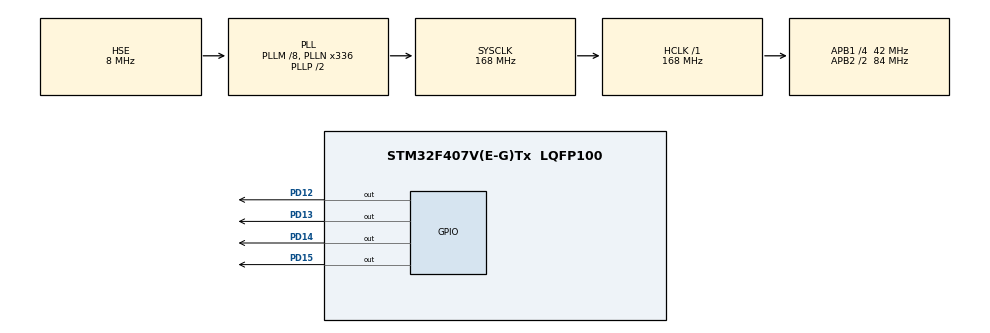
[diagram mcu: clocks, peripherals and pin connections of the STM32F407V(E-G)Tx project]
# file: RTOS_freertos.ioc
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FREERTOS.Tasks01=defaultTask,0,128,StartDefaultTask,Default,NULL,Dynamic,NULL,NULL
Mcu.Family=STM32F4
Mcu.Name=STM32F407V(E-G)Tx
Mcu.Package=LQFP100
NVIC.PriorityGroup=NVIC_PRIORITYGROUP_4
NVIC.TIM3_IRQn=true\:15\:0\:false\:false\:true\:false\:false\:true\:true
NVIC.TimeBase=TIM3_IRQn
NVIC.TimeBaseIP=TIM3
PD12.Signal=GPIO_Output
PD13.Signal=GPIO_Output
PD14.Signal=GPIO_Output
PD15.Signal=GPIO_Output
PH0-OSC_IN.Mode=HSE-External-Oscillator
PH0-OSC_IN.Signal=RCC_OSC_IN
PH1-OSC_OUT.Mode=HSE-External-Oscillator
PH1-OSC_OUT.Signal=RCC_OSC_OUT
ProjectManager.HeapSize=0x200
ProjectManager.StackSize=0x400
ProjectManager.TargetToolchain=STM32CubeIDE
RCC.48MHZClocksFreq_Value=48000000
RCC.AHBFreq_Value=168000000
RCC.APB1CLKDivider=RCC_HCLK_DIV4
RCC.APB1Freq_Value=42000000
RCC.APB1TimFreq_Value=84000000
RCC.APB2CLKDivider=RCC_HCLK_DIV2
RCC.APB2Freq_Value=84000000
RCC.APB2TimFreq_Value=168000000
RCC.CortexFreq_Value=168000000
RCC.HCLKFreq_Value=168000000
RCC.HSE_VALUE=8000000
RCC.HSI_VALUE=16000000
RCC.PLLM=8
RCC.PLLN=336
RCC.PLLQ=7
RCC.PLLSourceVirtual=RCC_PLLSOURCE_HSE
RCC.SYSCLKFreq_VALUE=168000000
RCC.SYSCLKSource=RCC_SYSCLKSOURCE_PLLCLK
RCC.VCOOutputFreq_Value=336000000
VP_FREERTOS_VS_CMSIS_V1.Mode=CMSIS_V1
VP_SYS_VS_tim3.Mode=TIM3
board=STM32F407G-DISC1

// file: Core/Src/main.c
/* USER CODE BEGIN Header */
/**
  ******************************************************************************
  * @file           : main.c
  * @brief          : Main program body
  ******************************************************************************
  * @attention
  *
  * Copyright (c) 2026 STMicroelectronics.
  * All rights reserved.
  *
  * This software is licensed under terms that can be found in the LICENSE file
  * in the root directory of this software component.
  * If no LICENSE file comes with this software, it is provided AS-IS.
  *
  ******************************************************************************
  */
/* USER CODE END Header */
#include "main.h"
//#include "cmsis_os.h"

/* USER CODE BEGIN Includes */
#include "FreeRTOS.h"
#include "task.h"
//#include "timers.h"
//#include "queue.h"
//#include "semphr.h"
//#include "event_groups.h"

#include "stdio.h"
#include "string.h"
/* USER CODE END Includes */

//osThreadId defaultTaskHandle;
/* USER CODE BEGIN PV */
xTaskHandle Task1_Handler;
xTaskHandle Task2_Handler;
xTaskHandle Task3_Handler;
/* USER CODE END PV */

void SystemClock_Config(void);
static void MX_GPIO_Init(void);
//void StartDefaultTask(void const * argument);

/* USER CODE BEGIN PFP */
//======================= task functions ======================
void Task1(void *arguments);
void Task2(void *arguments);
void Task3(void *arguments);
/* USER CODE END PFP */

/* USER CODE BEGIN 0 */
int _write(int file,char *ptr,int len)
{
	int i = 0;
	for(i=0;i<len;i++)
	{
		ITM_SendChar((*ptr++));
	}
	return len;
}
/* USER CODE END 0 */

int main(void)
{

  /* MCU Configuration--------------------------------------------------------*/

  /* Reset of all peripherals, Initializes the Flash interface and the Systick. */
  HAL_Init();

  /* Configure the system clock */
  SystemClock_Config();

  /* Initialize all configured peripherals */
  MX_GPIO_Init();

  /* Create the thread(s) */
  /* definition and creation of defaultTask */
  //osThreadDef(defaultTask, StartDefaultTask, osPriorityNormal, 0, 128);
  //defaultTaskHandle = osThreadCreate(osThread(defaultTask), NULL);

  /* USER CODE BEGIN RTOS_THREADS */
  /* add threads, ... */
  xTaskCreate(Task1,"Task1",128,NULL,1,&Task1_Handler);
  xTaskCreate(Task2,"Task2",128,NULL,2,&Task2_Handler);
  xTaskCreate(Task3,"Task3",128,NULL,3,&Task3_Handler);

    /* USER CODE BEGIN RTOS_THREADS */

  /* USER CODE END RTOS_THREADS */

  /* Start scheduler */
  //osKernelStart();

  vTaskStartScheduler();
  /* We should never get here as control is now taken by the scheduler */

  /* Infinite loop */
  while (1)
  {

  }
}

void SystemClock_Config(void)
{
  RCC_OscInitTypeDef RCC_OscInitStruct = {0};
  RCC_ClkInitTypeDef RCC_ClkInitStruct = {0};

  /** Configure the main internal regulator output voltage
  */
  __HAL_RCC_PWR_CLK_ENABLE();
  __HAL_PWR_VOLTAGESCALING_CONFIG(PWR_REGULATOR_VOLTAGE_SCALE1);

  /** Initializes the RCC Oscillators according to the specified parameters
  * in the RCC_OscInitTypeDef structure.
  */
  RCC_OscInitStruct.OscillatorType = RCC_OSCILLATORTYPE_HSE;
  RCC_OscInitStruct.HSEState = RCC_HSE_ON;
  RCC_OscInitStruct.PLL.PLLState = RCC_PLL_ON;
  RCC_OscInitStruct.PLL.PLLSource = RCC_PLLSOURCE_HSE;
  RCC_OscInitStruct.PLL.PLLM = 8;
  RCC_OscInitStruct.PLL.PLLN = 336;
  RCC_OscInitStruct.PLL.PLLP = RCC_PLLP_DIV2;
  RCC_OscInitStruct.PLL.PLLQ = 7;
  if (HAL_RCC_OscConfig(&RCC_OscInitStruct) != HAL_OK)
  {
    Error_Handler();
  }

  /** Initializes the CPU, AHB and APB buses clocks
  */
  RCC_ClkInitStruct.ClockType = RCC_CLOCKTYPE_HCLK|RCC_CLOCKTYPE_SYSCLK
                              |RCC_CLOCKTYPE_PCLK1|RCC_CLOCKTYPE_PCLK2;
  RCC_ClkInitStruct.SYSCLKSource = RCC_SYSCLKSOURCE_PLLCLK;
  RCC_ClkInitStruct.AHBCLKDivider = RCC_SYSCLK_DIV1;
  RCC_ClkInitStruct.APB1CLKDivider = RCC_HCLK_DIV4;
  RCC_ClkInitStruct.APB2CLKDivider = RCC_HCLK_DIV2;

  if (HAL_RCC_ClockConfig(&RCC_ClkInitStruct, FLASH_LATENCY_5) != HAL_OK)
  {
    Error_Handler();
  }
}

static void MX_GPIO_Init(void)
{
  GPIO_InitTypeDef GPIO_InitStruct = {0};

  /* GPIO Ports Clock Enable */
  __HAL_RCC_GPIOH_CLK_ENABLE();
  __HAL_RCC_GPIOD_CLK_ENABLE();

  /*Configure GPIO pin Output Level */
  HAL_GPIO_WritePin(GPIOD, GPIO_PIN_12|GPIO_PIN_13|GPIO_PIN_14|GPIO_PIN_15, GPIO_PIN_RESET);

  /*Configure GPIO pins : PD12 PD13 PD14 PD15 */
  GPIO_InitStruct.Pin = GPIO_PIN_12|GPIO_PIN_13|GPIO_PIN_14|GPIO_PIN_15;
  GPIO_InitStruct.Mode = GPIO_MODE_OUTPUT_PP;
  GPIO_InitStruct.Pull = GPIO_NOPULL;
  GPIO_InitStruct.Speed = GPIO_SPEED_FREQ_LOW;
  HAL_GPIO_Init(GPIOD, &GPIO_InitStruct);

}

/* USER CODE BEGIN 4 */
void Task1(void *argument)
{
	uint32_t TickDelay = pdMS_TO_TICKS(3000);
	while(1)
	{
		printf("Task 1\n");
		vTaskDelay(TickDelay);
	}
}

void Task2(void *argument)
{
	uint32_t TickDelay = pdMS_TO_TICKS(2000);
	while(1)
	{
		printf("Task 2\n");
		vTaskDelay(TickDelay);
	}
}

void Task3(void *argument)
{
	uint32_t TickDelay = pdMS_TO_TICKS(1000);
	while(1)
	{
		printf("Task 3\n");
		vTaskDelay(TickDelay);
	}
}
/* USER CODE END 4 */

void StartDefaultTask(void const * argument)
{
  /* USER CODE BEGIN 5 */
//  /* Infinite loop */
//  for(;;)
//  {
//    osDelay(1);
//  }
  /* USER CODE END 5 */
}

void HAL_TIM_PeriodElapsedCallback(TIM_HandleTypeDef *htim)
{
  if (htim->Instance == TIM3)
  {
    HAL_IncTick();
  }
}

void Error_Handler(void)
{
  __disable_irq();
  while (1)
  {
  }
}
